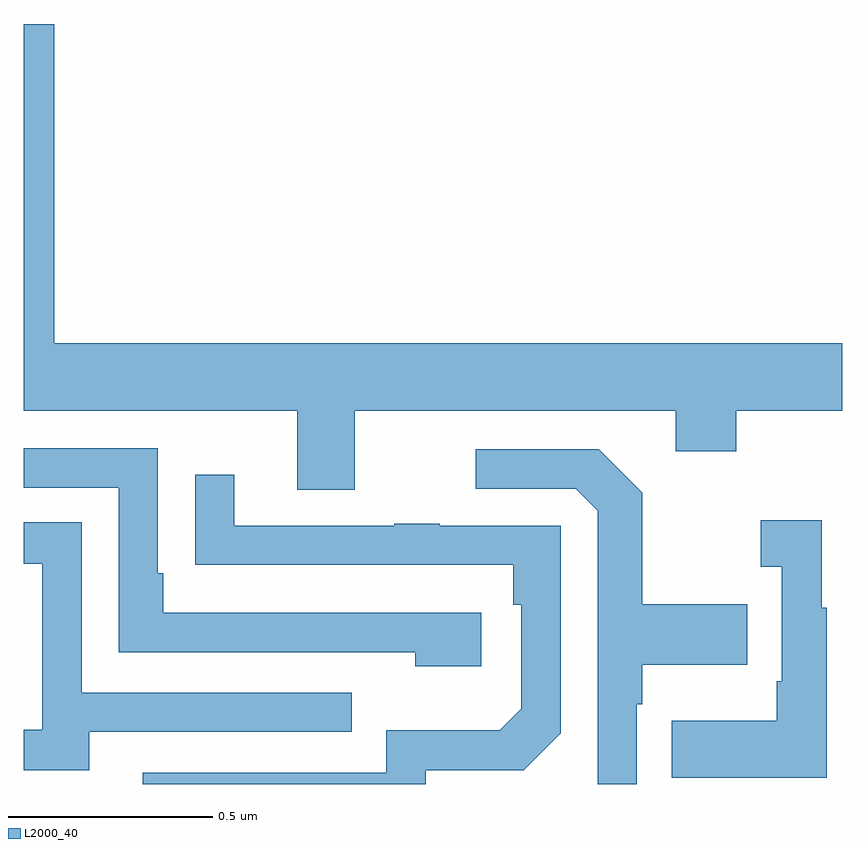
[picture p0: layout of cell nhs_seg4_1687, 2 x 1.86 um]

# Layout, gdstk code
import gdstk
lib = gdstk.Library(unit=1e-6, precision=1e-09)
def P(c, l, *ps):  # polygons
    for p in ps: c.add(gdstk.Polygon(p, *l))
L2000_40 = (2000, 40)

nhs_seg4_1687 = lib.new_cell('nhs_seg4_1687')
P(nhs_seg4_1687, L2000_40, [(131.809,804.812),(132.593,804.812),(132.593,804.713),(132.741,804.713),(132.741,804.812),(133,804.812),(133,804.976),(131.075,804.976),(131.075,805.756),(131,805.756),(131,804.812),(131.669,804.812),(131.669,804.618),(131.809,804.618)],
  [(132.118,804.318),(131.341,804.318),(131.341,804.415),(131.328,804.415),(131.328,804.72),(131,804.72),(131,804.624),(131.232,804.624),(131.232,804.222),(131.957,804.222),(131.957,804.188),(132.118,804.188)],
  [(132.498,804.095),(132.511,804.095),(132.511,804.191),(132.767,804.191),(132.767,804.339),(132.511,804.339),(132.511,804.611),(132.405,804.717),(132.105,804.717),(132.105,804.621),(132.348,804.621),(132.402,804.567),(132.402,803.9),(132.498,803.9)],
  [(131.982,803.934),(132.222,803.934),(132.312,804.024),(132.312,804.531),(132.017,804.531),(132.017,804.536),(131.905,804.536),(131.905,804.531),(131.515,804.531),(131.515,804.655),(131.419,804.655),(131.419,804.436),(131.521,804.436),(131.521,804.435),(132.196,804.435),(132.196,804.338),(132.216,804.338),(132.216,804.084),(132.163,804.031),(131.886,804.031),(131.886,803.928),(131.291,803.928),(131.291,803.9),(131.982,803.9)],
  [(132.961,804.331),(132.949,804.331),(132.949,804.544),(132.801,804.544),(132.801,804.431),(132.852,804.431),(132.852,804.151),(132.84,804.151),(132.84,804.055),(132.583,804.055),(132.583,803.915),(132.961,803.915)],
  [(131.161,804.027),(131.801,804.027),(131.801,804.123),(131.142,804.123),(131.142,804.539),(131,804.539),(131,804.438),(131.046,804.438),(131.046,804.033),(131,804.033),(131,803.933),(131.161,803.933)])

lib.write_gds('nhs_seg4_1687.gds')
